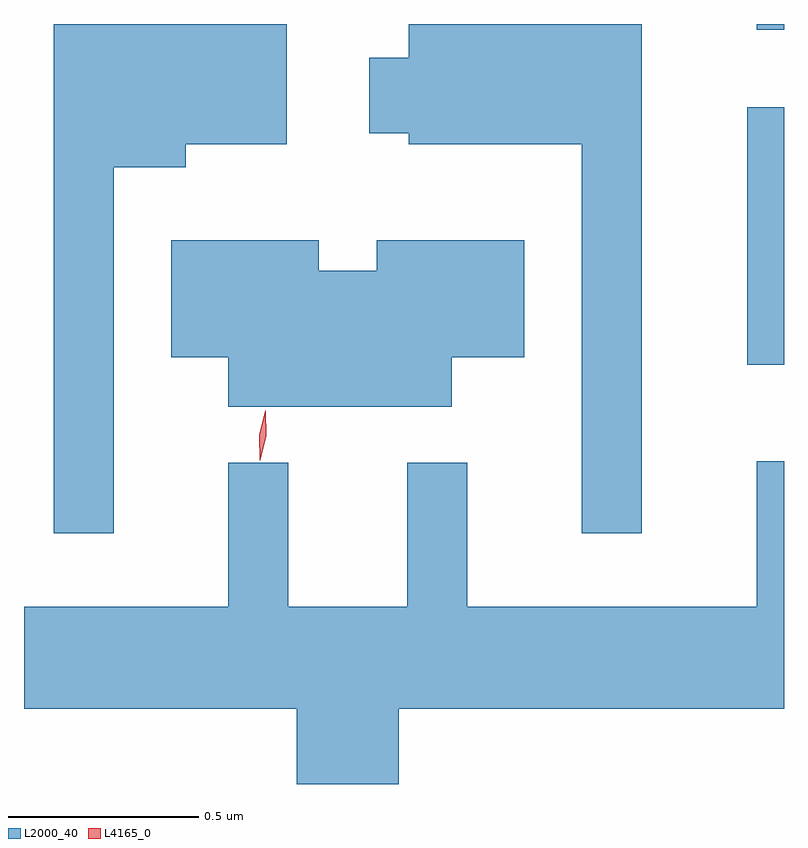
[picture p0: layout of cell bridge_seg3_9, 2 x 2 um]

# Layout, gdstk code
import gdstk
lib = gdstk.Library(unit=1e-6, precision=1e-09)
def R(c, l, rs):  # rectangles x0, y0, x1, y1
    for r in rs: c.add(gdstk.rectangle(r[:2], r[2:], *l))
def P(c, l, *ps):  # polygons
    for p in ps: c.add(gdstk.Polygon(p, *l))
L2000_40 = (2000, 40)
L4165_0 = (4165, 0)

bridge_seg3_9 = lib.new_cell('bridge_seg3_9')
R(bridge_seg3_9, L2000_40, [(1794.681,1206.841,1794.778,1207.519), (1794.706,1207.723,1794.778,1207.738)])
P(bridge_seg3_9, L2000_40, [(1793.014,1207.361),(1793.204,1207.361),(1793.204,1207.421),(1793.469,1207.421),(1793.469,1207.738),(1792.856,1207.738),(1792.856,1206.398),(1793.014,1206.398)],
  [(1794.404,1207.738),(1793.791,1207.738),(1793.791,1207.649),(1793.686,1207.649),(1793.686,1207.451),(1793.791,1207.451),(1793.791,1207.421),(1794.246,1207.421),(1794.246,1206.398),(1794.404,1206.398)],
  [(1793.904,1206.861),(1794.094,1206.861),(1794.094,1207.169),(1793.706,1207.169),(1793.706,1207.089),(1793.554,1207.089),(1793.554,1207.169),(1793.166,1207.169),(1793.166,1206.861),(1793.316,1206.861),(1793.316,1206.731),(1793.904,1206.731)],
  [(1793.764,1205.936),(1794.778,1205.936),(1794.778,1206.588),(1794.706,1206.588),(1794.706,1206.204),(1793.944,1206.204),(1793.944,1206.583),(1793.786,1206.583),(1793.786,1206.204),(1793.474,1206.204),(1793.474,1206.583),(1793.316,1206.583),(1793.316,1206.204),(1792.778,1206.204),(1792.778,1205.936),(1793.496,1205.936),(1793.496,1205.738),(1793.764,1205.738)])
P(bridge_seg3_9, L4165_0, [(1793.4,1206.589),(1793.399,1206.59),(1793.397,1206.656),(1793.413,1206.72),(1793.413,1206.72),(1793.414,1206.72),(1793.416,1206.654),(1793.4,1206.59)])

lib.write_gds('bridge_seg3_9.gds')
